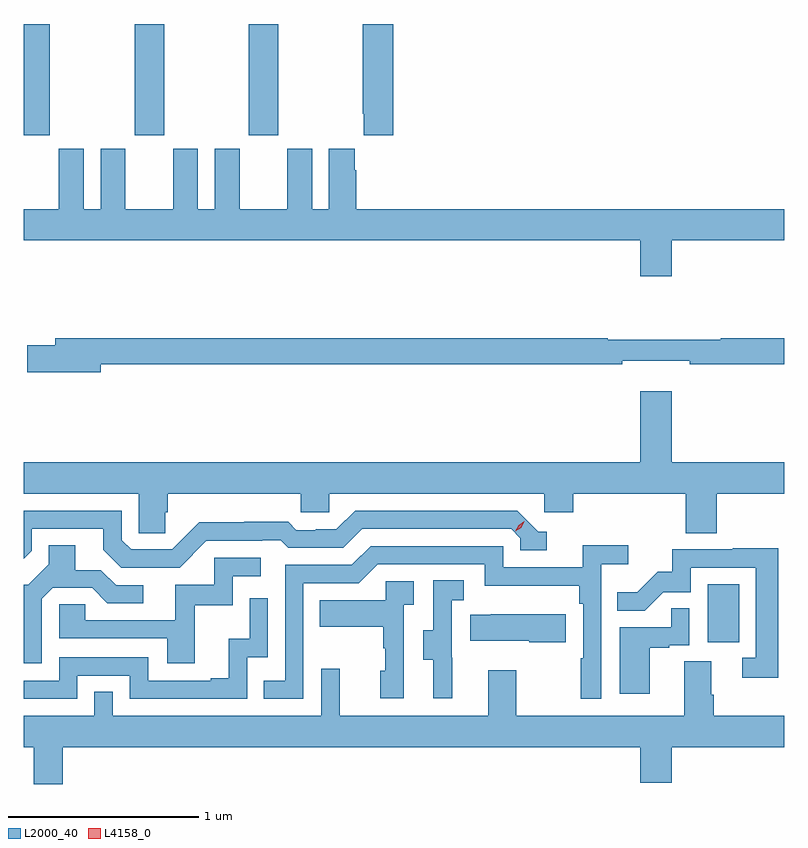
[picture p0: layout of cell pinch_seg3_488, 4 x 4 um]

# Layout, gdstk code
import gdstk
lib = gdstk.Library(unit=1e-6, precision=1e-09)
def R(c, l, rs):  # rectangles x0, y0, x1, y1
    for r in rs: c.add(gdstk.rectangle(r[:2], r[2:], *l))
def P(c, l, *ps):  # polygons
    for p in ps: c.add(gdstk.Polygon(p, *l))
L2000_40 = (2000, 40)
L4158_0 = (4158, 0)

pinch_seg3_488 = lib.new_cell('pinch_seg3_488')
R(pinch_seg3_488, L2000_40, [(980.546,684.15,980.71,684.457), (976.949,686.817,977.088,687.401), (977.533,686.817,977.688,687.401), (978.133,686.817,978.288,687.401)])
P(pinch_seg3_488, L2000_40, [(978.893,687.401),(978.733,687.401),(978.733,686.929),(978.737,686.929),(978.737,686.817),(978.893,686.817)],
  [(980.356,686.264),(980.949,686.264),(980.949,686.428),(978.698,686.428),(978.698,686.633),(978.691,686.633),(978.691,686.746),(978.554,686.746),(978.554,686.428),(978.466,686.428),(978.466,686.746),(978.335,686.746),(978.335,686.428),(978.085,686.428),(978.085,686.746),(977.954,686.746),(977.954,686.428),(977.866,686.428),(977.866,686.746),(977.735,686.746),(977.735,686.428),(977.485,686.428),(977.485,686.746),(977.354,686.746),(977.354,686.428),(977.266,686.428),(977.266,686.746),(977.135,686.746),(977.135,686.428),(976.949,686.428),(976.949,686.264),(980.192,686.264),(980.192,686.076),(980.356,686.076)],
  [(977.356,685.612),(980.096,685.612),(980.096,685.631),(980.452,685.631),(980.452,685.612),(980.949,685.612),(980.949,685.748),(980.614,685.748),(980.614,685.741),(980.019,685.741),(980.019,685.748),(977.117,685.748),(977.117,685.712),(976.968,685.712),(976.968,685.57),(977.356,685.57)],
  [(977.693,684.834),(977.708,684.834),(977.708,684.932),(978.405,684.932),(978.405,684.834),(978.555,684.834),(978.555,684.932),(979.686,684.932),(979.686,684.834),(979.838,684.834),(979.838,684.932),(980.429,684.932),(980.429,684.724),(980.594,684.724),(980.594,684.932),(980.949,684.932),(980.949,685.096),(980.356,685.096),(980.356,685.471),(980.192,685.471),(980.192,685.096),(976.949,685.096),(976.949,684.932),(977.556,684.932),(977.556,684.724),(977.693,684.724)],
  [(977.91,684.684),(978.203,684.684),(978.203,684.687),(978.302,684.687),(978.341,684.648),(978.63,684.648),(978.729,684.747),(979.512,684.747),(979.56,684.699),(979.56,684.636),(979.699,684.636),(979.699,684.732),(979.656,684.732),(979.545,684.843),(978.692,684.843),(978.593,684.744),(978.486,684.744),(978.486,684.741),(978.383,684.741),(978.341,684.784),(978.108,684.784),(978.108,684.781),(977.872,684.781),(977.73,684.639),(977.514,684.639),(977.466,684.687),(977.466,684.843),(976.949,684.843),(976.949,684.59),(976.992,684.633),(976.992,684.747),(977.369,684.747),(977.369,684.637),(977.463,684.543),(977.769,684.543)],
  [(978.42,684.462),(978.711,684.462),(978.81,684.561),(979.374,684.561),(979.374,684.449),(979.87,684.449),(979.87,684.353),(979.89,684.353),(979.89,684.068),(979.878,684.068),(979.878,683.853),(979.986,683.853),(979.986,684.56),(980.128,684.56),(980.128,684.662),(979.889,684.662),(979.889,684.546),(979.47,684.546),(979.47,684.657),(978.773,684.657),(978.674,684.558),(978.324,684.558),(978.324,683.949),(978.211,683.949),(978.211,683.853),(978.42,683.853)],
  [(977.046,684.381),(977.103,684.438),(977.309,684.438),(977.39,684.357),(977.578,684.357),(977.578,684.45),(977.436,684.45),(977.356,684.53),(977.221,684.53),(977.221,684.662),(977.081,684.662),(977.081,684.56),(976.974,684.453),(976.949,684.453),(976.949,684.042),(977.046,684.042)],
  [(980.915,684.644),(980.677,684.644),(980.677,684.639),(980.359,684.639),(980.359,684.522),(980.282,684.522),(980.175,684.415),(980.071,684.415),(980.071,684.316),(980.215,684.316),(980.313,684.414),(980.457,684.414),(980.457,684.543),(980.799,684.543),(980.799,684.069),(980.727,684.069),(980.727,683.964),(980.915,683.964)],
  [(977.849,684.345),(978.048,684.345),(978.048,684.498),(978.196,684.498),(978.196,684.594),(977.952,684.594),(977.952,684.453),(977.747,684.453),(977.747,684.267),(977.273,684.267),(977.273,684.351),(977.136,684.351),(977.136,684.171),(977.705,684.171),(977.705,684.042),(977.849,684.042)],
  [(979.202,684.069),(979.2,684.069),(979.2,684.373),(979.264,684.373),(979.264,684.476),(979.104,684.476),(979.104,684.213),(979.049,684.213),(979.049,684.058),(979.103,684.058),(979.103,683.856),(979.202,683.856)],
  [(978.948,684.347),(979,684.347),(979,684.471),(978.852,684.471),(978.852,684.373),(978.505,684.373),(978.505,684.233),(978.84,684.233),(978.84,684.119),(978.85,684.119),(978.85,684),(978.824,684),(978.824,683.856),(978.948,683.856)],
  [(977.232,683.976),(977.508,683.976),(977.508,683.853),(978.126,683.853),(978.126,684.072),(978.234,684.072),(978.234,684.382),(978.138,684.382),(978.138,684.17),(978.029,684.17),(978.029,683.962),(977.933,683.962),(977.933,683.949),(977.604,683.949),(977.604,684.072),(977.136,684.072),(977.136,683.949),(976.949,683.949),(976.949,683.853),(977.232,683.853)],
  [(980.242,684.123),(980.342,684.123),(980.342,684.135),(980.448,684.135),(980.448,684.329),(980.353,684.329),(980.353,684.231),(980.084,684.231),(980.084,683.88),(980.242,683.88)],
  [(979.798,684.298),(979.405,684.298),(979.405,684.295),(979.297,684.295),(979.297,684.158),(979.607,684.158),(979.607,684.151),(979.798,684.151)],
  [(977.156,683.6),(980.192,683.6),(980.192,683.412),(980.356,683.412),(980.356,683.6),(980.949,683.6),(980.949,683.764),(980.576,683.764),(980.576,683.876),(980.563,683.876),(980.563,684.05),(980.423,684.05),(980.423,683.764),(979.539,683.764),(979.539,684.004),(979.391,684.004),(979.391,683.764),(978.611,683.764),(978.611,684.013),(978.513,684.013),(978.513,683.764),(977.418,683.764),(977.418,683.891),(977.322,683.891),(977.322,683.764),(976.949,683.764),(976.949,683.6),(977.003,683.6),(977.003,683.406),(977.156,683.406)])
P(pinch_seg3_488, L4158_0, [(979.535,684.734),(979.535,684.734),(979.551,684.767),(979.582,684.786),(979.582,684.786),(979.582,684.785),(979.566,684.753),(979.535,684.734)])

lib.write_gds('pinch_seg3_488.gds')
